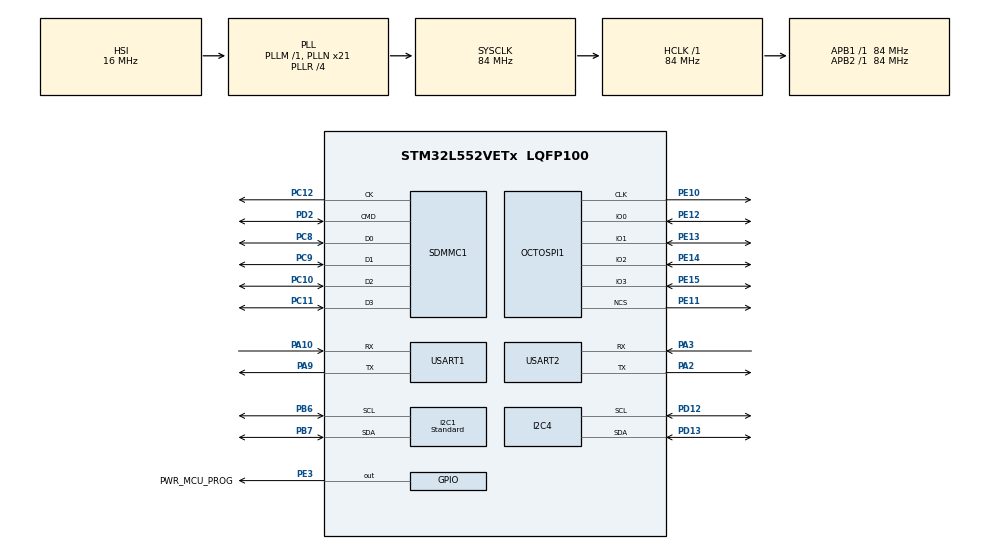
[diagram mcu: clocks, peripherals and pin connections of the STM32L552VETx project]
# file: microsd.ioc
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Dma.MEMTOMEM.1.Channel_PRIV_NPRIV=DMA_CHANNEL_NPRIV_DISABLE
Dma.MEMTOMEM.1.Direction=DMA_MEMORY_TO_MEMORY
Dma.MEMTOMEM.1.EventEnable=DISABLE
Dma.MEMTOMEM.1.Instance=DMA1_Channel2
Dma.MEMTOMEM.1.MemDataAlignment=DMA_MDATAALIGN_BYTE
Dma.MEMTOMEM.1.MemInc=DMA_MINC_ENABLE
Dma.MEMTOMEM.1.Mode=DMA_NORMAL
Dma.MEMTOMEM.1.PeriphDataAlignment=DMA_PDATAALIGN_BYTE
Dma.MEMTOMEM.1.PeriphInc=DMA_PINC_ENABLE
Dma.MEMTOMEM.1.Polarity=HAL_DMAMUX_REQ_GEN_RISING
Dma.MEMTOMEM.1.Priority=DMA_PRIORITY_LOW
Dma.MEMTOMEM.1.RequestNumber=1
Dma.MEMTOMEM.1.SignalID=NONE
Dma.MEMTOMEM.1.SyncEnable=DISABLE
Dma.MEMTOMEM.1.SyncPolarity=HAL_DMAMUX_SYNC_NO_EVENT
Dma.MEMTOMEM.1.SyncRequestNumber=1
Dma.MEMTOMEM.1.SyncSignalID=NONE
Dma.Request0=USART1_TX
Dma.Request1=MEMTOMEM
Dma.USART1_TX.0.Channel_PRIV_NPRIV=DMA_CHANNEL_NPRIV_DISABLE
Dma.USART1_TX.0.Direction=DMA_MEMORY_TO_PERIPH
Dma.USART1_TX.0.EventEnable=DISABLE
Dma.USART1_TX.0.Instance=DMA1_Channel1
Dma.USART1_TX.0.MemDataAlignment=DMA_MDATAALIGN_BYTE
Dma.USART1_TX.0.MemInc=DMA_MINC_ENABLE
Dma.USART1_TX.0.Mode=DMA_NORMAL
Dma.USART1_TX.0.PeriphDataAlignment=DMA_PDATAALIGN_BYTE
Dma.USART1_TX.0.PeriphInc=DMA_PINC_DISABLE
Dma.USART1_TX.0.Polarity=HAL_DMAMUX_REQ_GEN_RISING
Dma.USART1_TX.0.Priority=DMA_PRIORITY_LOW
Dma.USART1_TX.0.RequestNumber=1
Dma.USART1_TX.0.SignalID=NONE
Dma.USART1_TX.0.SyncEnable=DISABLE
Dma.USART1_TX.0.SyncPolarity=HAL_DMAMUX_SYNC_NO_EVENT
Dma.USART1_TX.0.SyncRequestNumber=1
Dma.USART1_TX.0.SyncSignalID=NONE
FATFS._FS_EXFAT=1
FATFS._USE_LFN=3
FREERTOS.Tasks01=defaultTask,24,256,StartDefaultTask,Default,NULL,Dynamic,NULL,NULL;sensors_t,24,1024,sensors_f,Default,NULL,Dynamic,NULL,NULL
FREERTOS.Timers01=sensors_tmr,sensors_tmr_cb,osTimerPeriodic,Default,NULL,Dynamic,NULL
FREERTOS.configTOTAL_HEAP_SIZE=16000
FREERTOS.configUSE_NEWLIB_REENTRANT=1
I2C1.CustomTiming=Disabled
I2C1.I2C_Coeff_DF=0
I2C1.I2C_Fall_Time=0
I2C1.I2C_Rise_Time=500
I2C1.I2C_Speed_Mode=I2C_Standard
I2C1.Speed=100
I2C1.Timing=0x50A0364B
I2C4.I2C_Rise_Time=100
I2C4.Timing=0x20906FA0
Mcu.Family=STM32L5
Mcu.Name=STM32L552VETx
Mcu.Package=LQFP100
NVIC.DMA1_Channel1_IRQn=true\:5\:0\:false\:false\:true\:true\:false\:true\:true
NVIC.I2C1_ER_IRQn=true\:5\:0\:false\:false\:true\:true\:true\:true\:true
NVIC.I2C1_EV_IRQn=true\:5\:0\:false\:false\:true\:true\:true\:true\:true
NVIC.OCTOSPI1_IRQn=true\:5\:0\:false\:false\:true\:true\:true\:true\:true
NVIC.PriorityGroup=NVIC_PRIORITYGROUP_3
NVIC.SDMMC1_IRQn=true\:5\:0\:false\:false\:true\:true\:true\:true\:true
NVIC.TIM1_UP_IRQn=true\:7\:0\:false\:false\:true\:false\:false\:true\:true
NVIC.TimeBase=TIM1_UP_IRQn
NVIC.TimeBaseIP=TIM1
NVIC.USART1_IRQn=true\:5\:0\:false\:false\:true\:true\:true\:true\:true
NVIC.USART2_IRQn=true\:5\:0\:false\:false\:true\:true\:true\:true\:true
OCTOSPI1.ChipSelectHighTime=2
OCTOSPI1.DelayBlockBypass=HAL_OSPI_DELAY_BLOCK_USED
OCTOSPI1.DelayHoldQuarterCycle=HAL_OSPI_DHQC_DISABLE
OCTOSPI1.DeviceSize=23
OCTOSPI1.MemoryType=HAL_OSPI_MEMTYPE_APMEMORY
OCTOSPI1.Refresh=482
OCTOSPI1.SampleShifting=HAL_OSPI_SAMPLE_SHIFTING_HALFCYCLE
PA10.Mode=Asynchronous
PA10.Signal=USART1_RX
PA2.Mode=Asynchronous
PA2.Signal=USART2_TX
PA3.Mode=Asynchronous
PA3.Signal=USART2_RX
PA9.Mode=Asynchronous
PA9.Signal=USART1_TX
PB10.Signal=LPUART1_RX
PB11.Signal=LPUART1_TX
PB6.Mode=I2C
PB6.Signal=I2C1_SCL
PB7.Mode=I2C
PB7.Signal=I2C1_SDA
PC10.Mode=SD_4_bits_Wide_bus
PC10.Signal=SDMMC1_D2
PC11.Mode=SD_4_bits_Wide_bus
PC11.Signal=SDMMC1_D3
PC12.Mode=SD_4_bits_Wide_bus
PC12.Signal=SDMMC1_CK
PC8.Mode=SD_4_bits_Wide_bus
PC8.Signal=SDMMC1_D0
PC9.Mode=SD_4_bits_Wide_bus
PC9.Signal=SDMMC1_D1
PD12.Mode=I2C
PD12.Signal=I2C4_SCL
PD13.Mode=I2C
PD13.Signal=I2C4_SDA
PD2.Mode=SD_4_bits_Wide_bus
PD2.Signal=SDMMC1_CMD
PE10.Mode=quad_mode
PE10.Signal=OCTOSPI1_CLK
PE11.Mode=quad_mode
PE11.Signal=OCTOSPI1_NCS
PE12.Mode=quad_mode
PE12.Signal=OCTOSPI1_IO0
PE13.Mode=quad_mode
PE13.Signal=OCTOSPI1_IO1
PE14.Mode=quad_mode
PE14.Signal=OCTOSPI1_IO2
PE15.Mode=quad_mode
PE15.Signal=OCTOSPI1_IO3
PE3.GPIO_Label=PWR_MCU_PROG
PE3.Signal=GPIO_Output
ProjectManager.HeapSize=0x400
ProjectManager.StackSize=0x1000
ProjectManager.TargetToolchain=STM32CubeIDE
RCC.ADCFreq_Value=40000000
RCC.AHBFreq_Value=84000000
RCC.APB1Freq_Value=84000000
RCC.APB1TimFreq_Value=84000000
RCC.APB2Freq_Value=84000000
RCC.APB2TimFreq_Value=84000000
RCC.CortexFreq_Value=84000000
RCC.HCLKFreq_Value=84000000
RCC.HSE_VALUE=10000000
RCC.HSI48_VALUE=48000000
RCC.HSI_VALUE=16000000
RCC.LSE_VALUE=32768
RCC.MSI_VALUE=4000000
RCC.OCTOSPIMCLockSelection=RCC_OSPICLKSOURCE_PLL
RCC.PLLN=21
RCC.PLLQ=RCC_PLLQ_DIV8
RCC.PLLR=RCC_PLLR_DIV4
RCC.PLLSAI1N=20
RCC.PLLSAI1Q=RCC_PLLQ_DIV8
RCC.PLLSourceVirtual=RCC_PLLSOURCE_HSI
RCC.SYSCLKFreq_VALUE=84000000
RCC.SYSCLKSource=RCC_SYSCLKSOURCE_PLLCLK
RCC.USBFreq_Value=10000000
RCC.VCOOutputFreq_Value=336000000
SDMMC1.ClockDiv=0
SDMMC1.ClockEdge=SDMMC_CLOCK_EDGE_RISING
SDMMC1.ClockPowerSave=SDMMC_CLOCK_POWER_SAVE_DISABLE
SDMMC1.HardwareFlowControl=SDMMC_HARDWARE_FLOW_CONTROL_DISABLE
USART1.VirtualMode-Asynchronous=VM_ASYNC
USART2.VirtualMode-Asynchronous=VM_ASYNC
VP_FATFS_VS_SDIO.Mode=SDIO
VP_FREERTOS_VS_CMSIS_V2.Mode=CMSIS_V2
VP_ICACHE_VS_ICACHE.Mode=DefaultMode
VP_PWR_VS_DBSignals.Mode=DisableDeadBatterySignals
VP_PWR_VS_SECSignals.Mode=Security/Privilege
VP_RTC_VS_RTC_Activate.Mode=RTC_Enabled
VP_SYS_VS_tim1.Mode=TIM1
board=custom

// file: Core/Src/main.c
/* USER CODE BEGIN Header */
/**
  ******************************************************************************
  * @file           : main.c
  * @brief          : Main program body
  ******************************************************************************
  * @attention
  *
  * Copyright (c) 2023 STMicroelectronics.
  * All rights reserved.
  *
  * This software is licensed under terms that can be found in the LICENSE file
  * in the root directory of this software component.
  * If no LICENSE file comes with this software, it is provided AS-IS.
  *
  ******************************************************************************
  */
/* USER CODE END Header */
#include "main.h"
#include "cmsis_os.h"
#include "app_fatfs.h"

/* USER CODE BEGIN Includes */
#include "stdio.h"
#include "string.h"
#include "dbg.h"
#include "stdlib.h"
/* USER CODE END Includes */

I2C_HandleTypeDef hi2c1;
I2C_HandleTypeDef hi2c4;

OSPI_HandleTypeDef hospi1;

RTC_HandleTypeDef hrtc;

SD_HandleTypeDef hsd1;

UART_HandleTypeDef huart1;
UART_HandleTypeDef huart2;
DMA_HandleTypeDef hdma_usart1_tx;

DMA_HandleTypeDef hdma_memtomem_dma1_channel2;
/* Definitions for defaultTask */
osThreadId_t defaultTaskHandle;
const osThreadAttr_t defaultTask_attributes = {
  .name = "defaultTask",
  .priority = (osPriority_t) osPriorityNormal,
  .stack_size = 256 * 4
};
/* Definitions for sensors_t */
osThreadId_t sensors_tHandle;
const osThreadAttr_t sensors_t_attributes = {
  .name = "sensors_t",
  .priority = (osPriority_t) osPriorityNormal,
  .stack_size = 1024 * 4
};
/* Definitions for sensors_tmr */
osTimerId_t sensors_tmrHandle;
const osTimerAttr_t sensors_tmr_attributes = {
  .name = "sensors_tmr"
};
/* USER CODE BEGIN PV */

uint8_t keepalive_msg[]={0x34,0x38,0x33,0x31,0x09,0x36,0x34,0x30,0x09,0x31,0x38,0x35,0x2E,0x33,0x34,0x36,0x09,0x39,0x30,0x2E,0x30,0x36,0x32,0x09,0x32,0x36,0x2E,0x35,0x37,0x32,0x09,0x32,0x37,0x2E,0x35,0x39,0x34,0x09,0x33,0x30,0x2E,0x37,0x33,0x34,0x09,0x33,0x39,0x2E,0x30,0x36,0x36,0x09,0x38,0x2E,0x33,0x33,0x32,0x09,0x37,0x35,0x34,0x2E,0x37,0x09,0x38,0x31,0x34,0x2E,0x37,0x09,0x34,0x38,0x2E,0x37,0x0D,0x0A};
uint8_t mem_buff2[20000];
uint8_t  cmd_msg[100];
uint32_t cmd_msg_indx=0;

char tt[200];
RTC_TimeTypeDef sTimeStamp;
RTC_DateTypeDef sTimeStampDate;
uint8_t depth_cmd=0xac;
uint8_t OUTX_L_XL=0x28;
uint8_t OUTX_H_XL=0x29;
uint8_t OUTY_L_XL=0x2A;
uint8_t OUTY_H_XL=0x2B;
uint8_t OUTZ_L_XL=0x2C;
uint8_t OUTZ_H_XL=0x2D;
uint8_t CTRL1_XL[]={0x10,0x20};
uint8_t who_am_i=0x0f;
uint8_t id;
uint8_t data[6];
uint8_t rx_byte;
uint8_t rx_byte2;

FATFS fs;
FIL fl;
FRESULT res;

uint16_t P;
uint16_t T;
UINT btwritten;
UINT btreaded;
uint32_t tmstmp;
int i=0;

__IO uint8_t *mem_addr;

enum{
  	FSM_STOPPED=0,
	FSM_STARTING,
	FSM_STARTED,
	FSM_STOPPING,
	FSM_TIMER,
	FSM_RTC_UPDATE
};
uint32_t fsm_status=FSM_STOPPED;
uint8_t uart2_rx_byte;

uint8_t aTxBuffer[] = " **OCTOSPI/Octal-spi PSRAM Memory-mapped\
communication example** **OCTOSPI/Octal-spi PSRAM Memory-mapped\
communication example** **OCTOSPI/Octal-spi PSRAM Memory-mapped\
communication example** **OCTOSPI/Octal-spi PSRAM Memory-mapped\
communication example**";

/* USER CODE END PV */

void SystemClock_Config(void);
static void MX_GPIO_Init(void);
static void MX_DMA_Init(void);
static void MX_ICACHE_Init(void);
static void MX_USART1_UART_Init(void);
static void MX_RTC_Init(void);
static void MX_SDMMC1_SD_Init(void);
static void MX_I2C1_Init(void);
static void MX_USART2_UART_Init(void);
static void MX_I2C4_Init(void);
static void MX_OCTOSPI1_Init(void);
void StartDefaultTask(void *argument);
void sensors_f(void *argument);
void sensors_tmr_cb(void *argument);

/* USER CODE BEGIN PFP */

void EnableMemMapped(void);
void DelayBlock_Calibration(void);
/* USER CODE END PFP */

int main(void)
{

  /* MCU Configuration--------------------------------------------------------*/

  /* Reset of all peripherals, Initializes the Flash interface and the Systick. */
  HAL_Init();

  /* Configure the system clock */
  SystemClock_Config();

  /* Initialize all configured peripherals */
  MX_GPIO_Init();
  MX_DMA_Init();
  MX_ICACHE_Init();
  MX_USART1_UART_Init();
  MX_RTC_Init();
  MX_SDMMC1_SD_Init();
  if (MX_FATFS_Init() != APP_OK) {
    Error_Handler();
  }
  MX_I2C1_Init();
  MX_USART2_UART_Init();
  MX_I2C4_Init();
  MX_OCTOSPI1_Init();
  /* USER CODE BEGIN 2 */

  EnterQuadMode();
  EnableMemMappedQuadMode();
  print_str("EnableMemMapped");

  /*
  print_param("CR",hospi1.Instance->CR);
  print_param("DCR1",hospi1.Instance->DCR1);
  print_param("DCR2",hospi1.Instance->DCR2);
  print_param("DCR3",hospi1.Instance->DCR3);
  print_param("DCR4",hospi1.Instance->DCR4);
  */

  /* USER CODE END 2 */

  /* Init scheduler */
  osKernelInitialize();

  /* Create the timer(s) */
  /* creation of sensors_tmr */
  sensors_tmrHandle = osTimerNew(sensors_tmr_cb, osTimerPeriodic, NULL, &sensors_tmr_attributes);

  /* Create the thread(s) */
  /* creation of defaultTask */
  defaultTaskHandle = osThreadNew(StartDefaultTask, NULL, &defaultTask_attributes);

  /* creation of sensors_t */
  sensors_tHandle = osThreadNew(sensors_f, NULL, &sensors_t_attributes);

  /* Start scheduler */
  osKernelStart();

  /* We should never get here as control is now taken by the scheduler */
  /* Infinite loop */
  /* USER CODE BEGIN WHILE */
  while (1)
  {
	/*

	*/

    /* USER CODE END WHILE */

  }
}

void SystemClock_Config(void)
{
  RCC_OscInitTypeDef RCC_OscInitStruct = {0};
  RCC_ClkInitTypeDef RCC_ClkInitStruct = {0};

  /** Configure the main internal regulator output voltage
  */
  if (HAL_PWREx_ControlVoltageScaling(PWR_REGULATOR_VOLTAGE_SCALE0) != HAL_OK)
  {
    Error_Handler();
  }

  /** Initializes the RCC Oscillators according to the specified parameters
  * in the RCC_OscInitTypeDef structure.
  */
  RCC_OscInitStruct.OscillatorType = RCC_OSCILLATORTYPE_HSI|RCC_OSCILLATORTYPE_LSI;
  RCC_OscInitStruct.HSIState = RCC_HSI_ON;
  RCC_OscInitStruct.LSIDiv = RCC_LSI_DIV1;
  RCC_OscInitStruct.HSICalibrationValue = RCC_HSICALIBRATION_DEFAULT;
  RCC_OscInitStruct.LSIState = RCC_LSI_ON;
  RCC_OscInitStruct.PLL.PLLState = RCC_PLL_ON;
  RCC_OscInitStruct.PLL.PLLSource = RCC_PLLSOURCE_HSI;
  RCC_OscInitStruct.PLL.PLLM = 1;
  RCC_OscInitStruct.PLL.PLLN = 21;
  RCC_OscInitStruct.PLL.PLLP = RCC_PLLP_DIV7;
  RCC_OscInitStruct.PLL.PLLQ = RCC_PLLQ_DIV8;
  RCC_OscInitStruct.PLL.PLLR = RCC_PLLR_DIV4;
  if (HAL_RCC_OscConfig(&RCC_OscInitStruct) != HAL_OK)
  {
    Error_Handler();
  }

  /** Initializes the CPU, AHB and APB buses clocks
  */
  RCC_ClkInitStruct.ClockType = RCC_CLOCKTYPE_HCLK|RCC_CLOCKTYPE_SYSCLK
                              |RCC_CLOCKTYPE_PCLK1|RCC_CLOCKTYPE_PCLK2;
  RCC_ClkInitStruct.SYSCLKSource = RCC_SYSCLKSOURCE_PLLCLK;
  RCC_ClkInitStruct.AHBCLKDivider = RCC_SYSCLK_DIV1;
  RCC_ClkInitStruct.APB1CLKDivider = RCC_HCLK_DIV1;
  RCC_ClkInitStruct.APB2CLKDivider = RCC_HCLK_DIV1;

  if (HAL_RCC_ClockConfig(&RCC_ClkInitStruct, FLASH_LATENCY_4) != HAL_OK)
  {
    Error_Handler();
  }
}

static void MX_I2C1_Init(void)
{

  hi2c1.Instance = I2C1;
  hi2c1.Init.Timing = 0x50A0364B;
  hi2c1.Init.OwnAddress1 = 0;
  hi2c1.Init.AddressingMode = I2C_ADDRESSINGMODE_7BIT;
  hi2c1.Init.DualAddressMode = I2C_DUALADDRESS_DISABLE;
  hi2c1.Init.OwnAddress2 = 0;
  hi2c1.Init.OwnAddress2Masks = I2C_OA2_NOMASK;
  hi2c1.Init.GeneralCallMode = I2C_GENERALCALL_DISABLE;
  hi2c1.Init.NoStretchMode = I2C_NOSTRETCH_DISABLE;
  if (HAL_I2C_Init(&hi2c1) != HAL_OK)
  {
    Error_Handler();
  }

  /** Configure Analogue filter
  */
  if (HAL_I2CEx_ConfigAnalogFilter(&hi2c1, I2C_ANALOGFILTER_ENABLE) != HAL_OK)
  {
    Error_Handler();
  }

  /** Configure Digital filter
  */
  if (HAL_I2CEx_ConfigDigitalFilter(&hi2c1, 0) != HAL_OK)
  {
    Error_Handler();
  }

}

static void MX_I2C4_Init(void)
{

  hi2c4.Instance = I2C4;
  hi2c4.Init.Timing = 0x20906FA0;
  hi2c4.Init.OwnAddress1 = 0;
  hi2c4.Init.AddressingMode = I2C_ADDRESSINGMODE_7BIT;
  hi2c4.Init.DualAddressMode = I2C_DUALADDRESS_DISABLE;
  hi2c4.Init.OwnAddress2 = 0;
  hi2c4.Init.OwnAddress2Masks = I2C_OA2_NOMASK;
  hi2c4.Init.GeneralCallMode = I2C_GENERALCALL_DISABLE;
  hi2c4.Init.NoStretchMode = I2C_NOSTRETCH_DISABLE;
  if (HAL_I2C_Init(&hi2c4) != HAL_OK)
  {
    Error_Handler();
  }

  /** Configure Analogue filter
  */
  if (HAL_I2CEx_ConfigAnalogFilter(&hi2c4, I2C_ANALOGFILTER_ENABLE) != HAL_OK)
  {
    Error_Handler();
  }

  /** Configure Digital filter
  */
  if (HAL_I2CEx_ConfigDigitalFilter(&hi2c4, 0) != HAL_OK)
  {
    Error_Handler();
  }

}

static void MX_ICACHE_Init(void)
{

  /** Enable instruction cache (default 2-ways set associative cache)
  */
  if (HAL_ICACHE_Enable() != HAL_OK)
  {
    Error_Handler();
  }

}

static void MX_OCTOSPI1_Init(void)
{

  /* OCTOSPI1 parameter configuration*/
  hospi1.Instance = OCTOSPI1;
  hospi1.Init.FifoThreshold = 1;
  hospi1.Init.DualQuad = HAL_OSPI_DUALQUAD_DISABLE;
  hospi1.Init.MemoryType = HAL_OSPI_MEMTYPE_APMEMORY;
  hospi1.Init.DeviceSize = 23;
  hospi1.Init.ChipSelectHighTime = 2;
  hospi1.Init.FreeRunningClock = HAL_OSPI_FREERUNCLK_DISABLE;
  hospi1.Init.ClockMode = HAL_OSPI_CLOCK_MODE_0;
  hospi1.Init.WrapSize = HAL_OSPI_WRAP_NOT_SUPPORTED;
  hospi1.Init.ClockPrescaler = 1;
  hospi1.Init.SampleShifting = HAL_OSPI_SAMPLE_SHIFTING_HALFCYCLE;
  hospi1.Init.DelayHoldQuarterCycle = HAL_OSPI_DHQC_DISABLE;
  hospi1.Init.ChipSelectBoundary = 0;
  hospi1.Init.DelayBlockBypass = HAL_OSPI_DELAY_BLOCK_USED;
  hospi1.Init.Refresh = 482;
  if (HAL_OSPI_Init(&hospi1) != HAL_OK)
  {
    Error_Handler();
  }

}

static void MX_RTC_Init(void)
{

  RTC_PrivilegeStateTypeDef privilegeState = {0};

  /** Initialize RTC Only
  */
  hrtc.Instance = RTC;
  hrtc.Init.HourFormat = RTC_HOURFORMAT_24;
  hrtc.Init.AsynchPrediv = 127;
  hrtc.Init.SynchPrediv = 255;
  hrtc.Init.OutPut = RTC_OUTPUT_DISABLE;
  hrtc.Init.OutPutRemap = RTC_OUTPUT_REMAP_NONE;
  hrtc.Init.OutPutPolarity = RTC_OUTPUT_POLARITY_HIGH;
  hrtc.Init.OutPutType = RTC_OUTPUT_TYPE_OPENDRAIN;
  hrtc.Init.OutPutPullUp = RTC_OUTPUT_PULLUP_NONE;
  if (HAL_RTC_Init(&hrtc) != HAL_OK)
  {
    Error_Handler();
  }
  privilegeState.rtcPrivilegeFull = RTC_PRIVILEGE_FULL_NO;
  privilegeState.backupRegisterPrivZone = RTC_PRIVILEGE_BKUP_ZONE_NONE;
  privilegeState.backupRegisterStartZone2 = RTC_BKP_DR0;
  privilegeState.backupRegisterStartZone3 = RTC_BKP_DR0;
  if (HAL_RTCEx_PrivilegeModeSet(&hrtc, &privilegeState) != HAL_OK)
  {
    Error_Handler();
  }

}

static void MX_SDMMC1_SD_Init(void)
{

  hsd1.Instance = SDMMC1;
  hsd1.Init.ClockEdge = SDMMC_CLOCK_EDGE_RISING;
  hsd1.Init.ClockPowerSave = SDMMC_CLOCK_POWER_SAVE_DISABLE;
  hsd1.Init.BusWide = SDMMC_BUS_WIDE_4B;
  hsd1.Init.HardwareFlowControl = SDMMC_HARDWARE_FLOW_CONTROL_DISABLE;
  hsd1.Init.ClockDiv = 0;

}

static void MX_USART1_UART_Init(void)
{

  huart1.Instance = USART1;
  huart1.Init.BaudRate = 115200;
  huart1.Init.WordLength = UART_WORDLENGTH_8B;
  huart1.Init.StopBits = UART_STOPBITS_1;
  huart1.Init.Parity = UART_PARITY_NONE;
  huart1.Init.Mode = UART_MODE_TX_RX;
  huart1.Init.HwFlowCtl = UART_HWCONTROL_NONE;
  huart1.Init.OverSampling = UART_OVERSAMPLING_16;
  huart1.Init.OneBitSampling = UART_ONE_BIT_SAMPLE_DISABLE;
  huart1.Init.ClockPrescaler = UART_PRESCALER_DIV1;
  huart1.AdvancedInit.AdvFeatureInit = UART_ADVFEATURE_NO_INIT;
  if (HAL_UART_Init(&huart1) != HAL_OK)
  {
    Error_Handler();
  }
  if (HAL_UARTEx_SetTxFifoThreshold(&huart1, UART_TXFIFO_THRESHOLD_1_8) != HAL_OK)
  {
    Error_Handler();
  }
  if (HAL_UARTEx_SetRxFifoThreshold(&huart1, UART_RXFIFO_THRESHOLD_1_8) != HAL_OK)
  {
    Error_Handler();
  }
  if (HAL_UARTEx_DisableFifoMode(&huart1) != HAL_OK)
  {
    Error_Handler();
  }

}

static void MX_USART2_UART_Init(void)
{

  huart2.Instance = USART2;
  huart2.Init.BaudRate = 115200;
  huart2.Init.WordLength = UART_WORDLENGTH_8B;
  huart2.Init.StopBits = UART_STOPBITS_1;
  huart2.Init.Parity = UART_PARITY_NONE;
  huart2.Init.Mode = UART_MODE_TX_RX;
  huart2.Init.HwFlowCtl = UART_HWCONTROL_NONE;
  huart2.Init.OverSampling = UART_OVERSAMPLING_16;
  huart2.Init.OneBitSampling = UART_ONE_BIT_SAMPLE_DISABLE;
  huart2.Init.ClockPrescaler = UART_PRESCALER_DIV1;
  huart2.AdvancedInit.AdvFeatureInit = UART_ADVFEATURE_NO_INIT;
  if (HAL_UART_Init(&huart2) != HAL_OK)
  {
    Error_Handler();
  }
  if (HAL_UARTEx_SetTxFifoThreshold(&huart2, UART_TXFIFO_THRESHOLD_1_8) != HAL_OK)
  {
    Error_Handler();
  }
  if (HAL_UARTEx_SetRxFifoThreshold(&huart2, UART_RXFIFO_THRESHOLD_1_8) != HAL_OK)
  {
    Error_Handler();
  }
  if (HAL_UARTEx_DisableFifoMode(&huart2) != HAL_OK)
  {
    Error_Handler();
  }

}

static void MX_DMA_Init(void)
{

  /* DMA controller clock enable */
  __HAL_RCC_DMAMUX1_CLK_ENABLE();
  __HAL_RCC_DMA1_CLK_ENABLE();

  /* Configure DMA request hdma_memtomem_dma1_channel2 on DMA1_Channel2 */
  hdma_memtomem_dma1_channel2.Instance = DMA1_Channel2;
  hdma_memtomem_dma1_channel2.Init.Request = DMA_REQUEST_MEM2MEM;
  hdma_memtomem_dma1_channel2.Init.Direction = DMA_MEMORY_TO_MEMORY;
  hdma_memtomem_dma1_channel2.Init.PeriphInc = DMA_PINC_ENABLE;
  hdma_memtomem_dma1_channel2.Init.MemInc = DMA_MINC_ENABLE;
  hdma_memtomem_dma1_channel2.Init.PeriphDataAlignment = DMA_PDATAALIGN_BYTE;
  hdma_memtomem_dma1_channel2.Init.MemDataAlignment = DMA_MDATAALIGN_BYTE;
  hdma_memtomem_dma1_channel2.Init.Mode = DMA_NORMAL;
  hdma_memtomem_dma1_channel2.Init.Priority = DMA_PRIORITY_LOW;
  if (HAL_DMA_Init(&hdma_memtomem_dma1_channel2) != HAL_OK)
  {
    Error_Handler( );
  }

  /*  */
  if (HAL_DMA_ConfigChannelAttributes(&hdma_memtomem_dma1_channel2, DMA_CHANNEL_NPRIV) != HAL_OK)
  {
    Error_Handler( );
  }

  /* DMA interrupt init */
  /* DMA1_Channel1_IRQn interrupt configuration */
  HAL_NVIC_SetPriority(DMA1_Channel1_IRQn, 5, 0);
  HAL_NVIC_EnableIRQ(DMA1_Channel1_IRQn);

}

static void MX_GPIO_Init(void)
{
  GPIO_InitTypeDef GPIO_InitStruct = {0};

  /* GPIO Ports Clock Enable */
  __HAL_RCC_GPIOE_CLK_ENABLE();
  __HAL_RCC_GPIOA_CLK_ENABLE();
  __HAL_RCC_GPIOB_CLK_ENABLE();
  __HAL_RCC_GPIOD_CLK_ENABLE();
  __HAL_RCC_GPIOC_CLK_ENABLE();

  /*Configure GPIO pin Output Level */
  HAL_GPIO_WritePin(PWR_MCU_PROG_GPIO_Port, PWR_MCU_PROG_Pin, GPIO_PIN_RESET);

  /*Configure GPIO pin : PWR_MCU_PROG_Pin */
  GPIO_InitStruct.Pin = PWR_MCU_PROG_Pin;
  GPIO_InitStruct.Mode = GPIO_MODE_OUTPUT_PP;
  GPIO_InitStruct.Pull = GPIO_NOPULL;
  GPIO_InitStruct.Speed = GPIO_SPEED_FREQ_LOW;
  HAL_GPIO_Init(PWR_MCU_PROG_GPIO_Port, &GPIO_InitStruct);

  /*Configure GPIO pins : PB10 PB11 */
  GPIO_InitStruct.Pin = GPIO_PIN_10|GPIO_PIN_11;
  GPIO_InitStruct.Mode = GPIO_MODE_AF_PP;
  GPIO_InitStruct.Pull = GPIO_NOPULL;
  GPIO_InitStruct.Speed = GPIO_SPEED_FREQ_LOW;
  GPIO_InitStruct.Alternate = GPIO_AF8_LPUART1;
  HAL_GPIO_Init(GPIOB, &GPIO_InitStruct);

}

/* USER CODE BEGIN 4 */
uint32_t sd_dma_rx_semaphore;
uint32_t sd_dma_tx_semaphore;

void HAL_SD_TxCpltCallback(SD_HandleTypeDef *hsd)
{
	sd_dma_tx_semaphore=1;
	//print_param("tcb",hsd->ErrorCode);
}

void HAL_SD_RxCpltCallback(SD_HandleTypeDef *hsd)
{
	sd_dma_rx_semaphore=1;
	//print_param("rCb",hsd->ErrorCode);

}
void HAL_SD_ErrorCallback(SD_HandleTypeDef *hsd)
{
  print_param("ecb",hsd->ErrorCode);
  print_param("STAecb",hsd1.Instance->STA);
  print_param("CLKCR",hsd1.Instance->CLKCR);
}

void HAL_UART_RxCpltCallback(UART_HandleTypeDef *huart)
{
 if(huart==&huart2)
 {
	 if(uart2_rx_byte=='\r'){
		 uart2_rx_byte=0x00;
	 }

     cmd_msg[cmd_msg_indx]=uart2_rx_byte;
     if(uart2_rx_byte==0x00){
    	 cmd_msg_indx=0;
    	 if(fsm_status==FSM_STARTED||fsm_status==FSM_TIMER)fsm_status=FSM_RTC_UPDATE;
     }
     else{
    	 cmd_msg_indx++;
    	 cmd_msg_indx%=100;
     }

	 HAL_UART_Receive_IT(&huart2,&uart2_rx_byte,1);
 }
}

//-------------------------------------------
void EnableMemMappedQuadMode()
{
	OSPI_RegularCmdTypeDef sCommand;
	OSPI_MemoryMappedTypeDef sMemMappedCfg;
	sCommand.FlashId = HAL_OSPI_FLASH_ID_1;
	sCommand.InstructionMode = HAL_OSPI_INSTRUCTION_4_LINES;
	sCommand.InstructionSize = HAL_OSPI_INSTRUCTION_8_BITS;
	sCommand.InstructionDtrMode = HAL_OSPI_INSTRUCTION_DTR_DISABLE;
	sCommand.AddressMode = HAL_OSPI_ADDRESS_4_LINES;
	sCommand.AddressSize = HAL_OSPI_ADDRESS_24_BITS;
	sCommand.AddressDtrMode = HAL_OSPI_ADDRESS_DTR_DISABLE;
	sCommand.AlternateBytesMode = HAL_OSPI_ALTERNATE_BYTES_NONE;
	sCommand.DataMode = HAL_OSPI_DATA_4_LINES;
	sCommand.DataDtrMode = HAL_OSPI_DATA_DTR_DISABLE;
	sCommand.SIOOMode = HAL_OSPI_SIOO_INST_EVERY_CMD;
	sCommand.Address = 0;
	sCommand.NbData = 1;
	/* Memory-mapped mode configuration for Quad Read mode 4-4-4*/
	sCommand.OperationType = HAL_OSPI_OPTYPE_READ_CFG;
	sCommand.Instruction = FAST_READ_QUAD;
	sCommand.DummyCycles = FAST_READ_QUAD_DUMMY_CYCLES;
	if (HAL_OSPI_Command(&hospi1, &sCommand, HAL_OSPI_TIMEOUT_DEFAULT_VALUE) !=	HAL_OK){
	  Error_Handler();
	}
	/* Memory-mapped mode configuration for Quad Write mode 4-4-4*/
	sCommand.OperationType = HAL_OSPI_OPTYPE_WRITE_CFG;
	sCommand.Instruction = QUAD_WRITE;
	sCommand.DummyCycles = WRITE_QUAD_DUMMY_CYCLES;
	sCommand.DQSMode = HAL_OSPI_DQS_ENABLE;
	if (HAL_OSPI_Command(&hospi1, &sCommand, HAL_OSPI_TIMEOUT_DEFAULT_VALUE) !=HAL_OK){
	  Error_Handler();
	}
	/*Disable timeout counter for memory mapped mode*/
	sMemMappedCfg.TimeOutActivation = HAL_OSPI_TIMEOUT_COUNTER_DISABLE;
	/*Enable memory mapped mode*/
	if (HAL_OSPI_MemoryMapped(&hospi1, &sMemMappedCfg) != HAL_OK){
	  Error_Handler();
	}
}
/*Function to configure the external memory in Quad mode 4-4-4*/
void EnterQuadMode()
{
	OSPI_RegularCmdTypeDef sCommand;
	sCommand.OperationType = HAL_OSPI_OPTYPE_COMMON_CFG;
	sCommand.FlashId = HAL_OSPI_FLASH_ID_1;
	sCommand.Instruction = ENTER_QUAD_MODE;
	sCommand.InstructionMode = HAL_OSPI_INSTRUCTION_1_LINE;
	sCommand.InstructionSize = HAL_OSPI_INSTRUCTION_8_BITS;
	sCommand.InstructionDtrMode = HAL_OSPI_INSTRUCTION_DTR_DISABLE;
	sCommand.AddressMode = HAL_OSPI_ADDRESS_NONE;
	sCommand.AlternateBytesMode = HAL_OSPI_ALTERNATE_BYTES_NONE;
	sCommand.DataMode = HAL_OSPI_DATA_NONE;
	sCommand.DummyCycles = ENTER_QUAD_DUMMY_CYCLES;
	sCommand.DQSMode = HAL_OSPI_DQS_DISABLE;
	sCommand.SIOOMode = HAL_OSPI_SIOO_INST_EVERY_CMD;
	/*Enter QUAD mode*/
	if (HAL_OSPI_Command(&hospi1, &sCommand, HAL_OSPI_TIMEOUT_DEFAULT_VALUE) != HAL_OK)	{
	   Error_Handler();
	}
}
/*----------------------------------------------------------------------*/
/*This function is used to calibrate the Delayblock before initiating
USER's application read/write transactions*/

/* USER CODE END 4 */

void StartDefaultTask(void *argument)
{
  /* USER CODE BEGIN 5 */
  /* Infinite loop */
  cmd_msg_indx=0;

  HAL_UART_Receive_IT(&huart2,&uart2_rx_byte,1);

  for(;;)
  {
	HAL_UART_Transmit(&huart2, keepalive_msg, 76, 100);
    osDelay(1000);
  }
  /* USER CODE END 5 */
}

void sensors_f(void *argument)
{
  /* USER CODE BEGIN sensors_f */
  /* Infinite loop */

	  uint32_t address = 0;
	  uint16_t index1;
	  uint16_t index2;
	  osDelay(200);
      uint32_t startick;
      uint32_t endtick;
      uint32_t delta;
	  extern uint8_t test_msg[100000];
	  HAL_UART_Transmit(&huart1, "Start\n", 6, 100);

	  startick=xTaskGetTickCount();

	  print_str("Test write");
	  mem_addr = (__IO uint8_t *)(OCTOSPI1_BASE);
	  for(int y=0;y<1;y++){
	   for (index1 = 0; index1 < 10000; index1++)
	   {
	     *mem_addr = test_msg[index1];
	      mem_addr++;
	   }
	  }

	  print_str("Test read");
	  mem_addr = (__IO uint8_t *)(OCTOSPI1_BASE);

	  for(int y=0;y<1;y++){
	   for (index1 = 0; index1 < 10000; index1++)
	   {
		 HAL_UART_Transmit(&huart1,mem_addr,1, 100);

	     if (*mem_addr != test_msg[index1]){
	       print_str("QSPI ERR");
	       osDelay(1000);
	     }
	     mem_addr++;
	   }

	  }

	  endtick=xTaskGetTickCount();
	  delta=endtick-startick;
	  sprintf(tt,"Delta:%u\n",delta);
	  HAL_UART_Transmit(&huart1, tt,strlen(tt), 100);

	  print_str("QSPI TEST FINISHED");

	  mem_addr = (__IO uint8_t *)(OCTOSPI1_BASE);

      res=f_mount(&fs,"",1);
	  print_param("mount", res);
	  res=f_open(&fl,"CytaBill.pdf",FA_READ);
	  print_param("open", res);
      res=f_read(&fl,mem_buff2,10000,&btreaded);
	  res=f_close(&fl);
	  print_param("close", res);

	  mem_addr = (__IO uint8_t *)(OCTOSPI1_BASE);
	  res=f_open(&fl,"CytaBill2.pdf",FA_OPEN_APPEND|FA_WRITE);
	  print_param("open_new", res);
	  res=f_write(&fl,mem_buff2,10000,&btwritten);
	  f_close(&fl);
	  print_param("close", res);

	  endtick=xTaskGetTickCount();
	  delta=endtick-startick;
	  sprintf(tt,"Delta:%u",delta);
	  HAL_UART_Transmit(&huart1, tt,strlen(tt), 100);

	  HAL_I2C_Master_Transmit(&hi2c4, 0xd4, CTRL1_XL, 2, 100);

	  fsm_status=FSM_STARTING;
	  char* pch;
	  while(1){
		 switch(fsm_status){
		   case FSM_RTC_UPDATE:
			   // d.m.y ss:mm:hh weekday
               print_str(cmd_msg);
			   pch = strtok (cmd_msg,"."); //Date
			   sTimeStampDate.Date=strtoul(pch,NULL,0);
			   pch = strtok (NULL,".");    //Month
			   sTimeStampDate.Month=strtoul(pch,NULL,0);
			   pch = strtok (NULL," ");    //Year
			   sTimeStampDate.Year=strtoul(pch,NULL,0);

			   pch = strtok (NULL,":"); //Seconds
			   sTimeStamp.Seconds=strtoul(pch,NULL,0);
			   pch = strtok (NULL,":");    //Minutes
			   sTimeStamp.Minutes=strtoul(pch,NULL,0);
			   pch = strtok (NULL," ");    //Hours
			   sTimeStamp.Hours=strtoul(pch,NULL,0);

			   pch = strtok (NULL," ");    //Weekday
			   sTimeStampDate.WeekDay =strtoul(pch,NULL,0);

			   HAL_RTC_SetTime(&hrtc, &sTimeStamp, RTC_FORMAT_BIN);
			   HAL_RTC_SetDate(&hrtc, &sTimeStampDate, RTC_FORMAT_BIN);

			   fsm_status=FSM_STARTED;

		   break;
		   case FSM_STARTING:
			HAL_RTC_GetTime(&hrtc, &sTimeStamp, RTC_FORMAT_BIN);
			HAL_RTC_GetDate(&hrtc, &sTimeStampDate, RTC_FORMAT_BIN);

			sprintf(tt,"data_%02u%02u%02u%02u%02u%02u.txt",sTimeStampDate.Date,sTimeStampDate.Month,sTimeStampDate.Year,sTimeStamp.Hours,sTimeStamp.Minutes,sTimeStamp.Seconds);

			f_open(&fl,tt,FA_OPEN_APPEND|FA_WRITE);
			f_write(&fl,"Start\n",6,&btwritten);
			osTimerStart(sensors_tmrHandle, 100);
			fsm_status=FSM_STARTED;
		   break;
		   case FSM_TIMER:
		    HAL_RTC_GetTime(&hrtc, &sTimeStamp, RTC_FORMAT_BIN);
		    HAL_RTC_GetDate(&hrtc, &sTimeStampDate, RTC_FORMAT_BIN);
		    uint32_t subsec=(sTimeStamp.SecondFraction-sTimeStamp.SubSeconds)*1000/(sTimeStamp.SecondFraction+1);

		    //sprintf(tt,"RTC %02u:%02u:%02u %02u:%02u:%02u\n",sTimeStampDate.Date,sTimeStampDate.Month,sTimeStampDate.Year,sTimeStamp.Hours,sTimeStamp.Minutes,sTimeStamp.Seconds);

			//IMU SENSOR!!
			//HAL_I2C_Master_Transmit(&hi2c4, 0xd4, &who_am_i, 1, 100);
			//HAL_I2C_Master_Receive(&hi2c4, 0xd4, &id, 1, 100);
			//sprintf(tt,"who_am_i:%u \n",id);
			//HAL_UART_Transmit(&huart1, tt, strlen(tt),100);

			HAL_I2C_Master_Transmit(&hi2c4, 0xd4, &OUTX_L_XL, 1, 100);
			HAL_I2C_Master_Receive(&hi2c4, 0xd4, data, 1, 100);
			HAL_I2C_Master_Transmit(&hi2c4, 0xd4, &OUTX_H_XL, 1, 100);
			HAL_I2C_Master_Receive(&hi2c4, 0xd4, data+1, 1, 100);

			HAL_I2C_Master_Transmit(&hi2c4, 0xd4, &OUTY_L_XL, 1, 100);
			HAL_I2C_Master_Receive(&hi2c4, 0xd4, data+2, 1, 100);
			HAL_I2C_Master_Transmit(&hi2c4, 0xd4, &OUTY_H_XL, 1, 100);
			HAL_I2C_Master_Receive(&hi2c4, 0xd4, data+3, 1, 100);

			HAL_I2C_Master_Transmit(&hi2c4, 0xd4, &OUTZ_L_XL, 1, 100);
			HAL_I2C_Master_Receive(&hi2c4, 0xd4, data+4, 1, 100);
			HAL_I2C_Master_Transmit(&hi2c4, 0xd4, &OUTZ_H_XL, 1, 100);
			HAL_I2C_Master_Receive(&hi2c4, 0xd4, data+5, 1, 100);

			int16_t OUTX_XL=(data[1]<<8)|data[0];
			int16_t OUTY_XL=(data[3]<<8)|data[2];
			int16_t OUTZ_XL=(data[5]<<8)|data[4];

			//DEPTH SENSOR !!
			HAL_I2C_Master_Transmit(&hi2c1, 0x80, &depth_cmd, 1, 100);
			osDelay(15);
			HAL_I2C_Master_Receive(&hi2c1, 0x80, data, 5, 100);
			P=(data[1]<<8)|data[2];
			T=(data[3]<<8)|data[4];

			sprintf(tt,"%02u:%02u:%02u,%02u:%02u:%02u.%03u,%u,%u,%d,%d,%d\n",sTimeStampDate.Date,sTimeStampDate.Month,sTimeStampDate.Year,sTimeStamp.Hours,sTimeStamp.Minutes,sTimeStamp.Seconds,subsec,P,T,OUTX_XL,OUTY_XL,OUTZ_XL);

			res=f_write(&fl,tt,strlen(tt),&btwritten);
			osDelay(20);
			f_sync(&fl);
			osDelay(20);
			print_str(tt);
			if(fsm_status!=FSM_RTC_UPDATE)fsm_status=FSM_STARTED;
		   break;
		   case FSM_STOPPING:
			osTimerStop(sensors_tmrHandle);
			f_close(&fl);
			osDelay(20);
			print_str("Finished\n");
			fsm_status=FSM_STOPPED;
		   break;
		   case FSM_STOPPED:

		   break;
		  }

		  osDelay(1);
	  }

  for(;;)
  {
    osDelay(1);
  }
  /* USER CODE END sensors_f */
}

/* sensors_tmr_cb function */
void sensors_tmr_cb(void *argument)
{
  /* USER CODE BEGIN sensors_tmr_cb */
   if(fsm_status==FSM_STARTED) fsm_status=FSM_TIMER;

  /* USER CODE END sensors_tmr_cb */
}

void HAL_TIM_PeriodElapsedCallback(TIM_HandleTypeDef *htim)
{
  if (htim->Instance == TIM1) {
    HAL_IncTick();
  }
}

void Error_Handler(void)
{
  /* USER CODE BEGIN Error_Handler_Debug */
  /* User can add his own implementation to report the HAL error return state */
	HAL_UART_Transmit(&huart1, "err", 3,100);
  __disable_irq();
  print_str("Error_Handler");
  while (1)
  {
  }
  /* USER CODE END Error_Handler_Debug */
}
